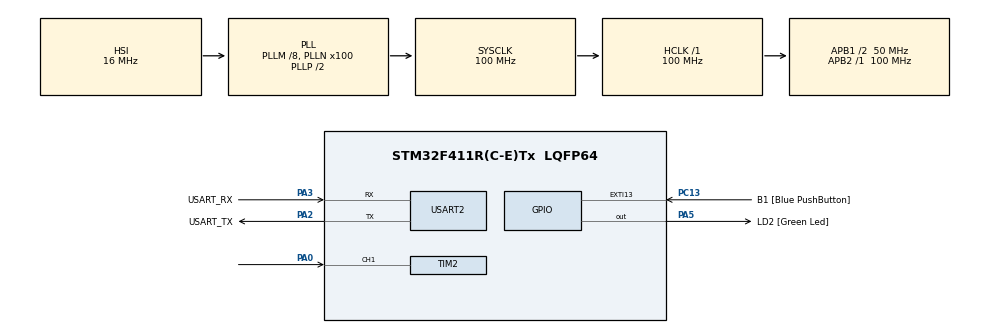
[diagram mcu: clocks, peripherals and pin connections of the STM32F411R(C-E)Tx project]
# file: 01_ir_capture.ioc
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Mcu.Family=STM32F4
Mcu.Name=STM32F411R(C-E)Tx
Mcu.Package=LQFP64
NVIC.PriorityGroup=NVIC_PRIORITYGROUP_0
NVIC.TIM2_IRQn=true\:0\:0\:false\:false\:true\:true\:true\:true
PA0-WKUP.GPIO_PuPd=GPIO_PULLUP
PA0-WKUP.Signal=S_TIM2_CH1_ETR
PA13.GPIO_Label=TMS
PA13.Mode=Serial_Wire
PA13.Signal=SYS_JTMS-SWDIO
PA14.GPIO_Label=TCK
PA14.Mode=Serial_Wire
PA14.Signal=SYS_JTCK-SWCLK
PA2.GPIO_Label=USART_TX
PA2.Mode=Asynchronous
PA2.Signal=USART2_TX
PA3.GPIO_Label=USART_RX
PA3.Mode=Asynchronous
PA3.Signal=USART2_RX
PA5.GPIO_Label=LD2 [Green Led]
PA5.Signal=GPIO_Output
PB3.GPIO_Label=SWO
PB3.Signal=SYS_JTDO-SWO
PC13-ANTI_TAMP.GPIO_Label=B1 [Blue PushButton]
PC13-ANTI_TAMP.GPIO_ModeDefaultEXTI=GPIO_MODE_IT_FALLING
PC13-ANTI_TAMP.Signal=GPXTI13
PC14-OSC32_IN.Mode=LSE-External-Oscillator
PC14-OSC32_IN.Signal=RCC_OSC32_IN
PC15-OSC32_OUT.Mode=LSE-External-Oscillator
PC15-OSC32_OUT.Signal=RCC_OSC32_OUT
PH0\ -\ OSC_IN.Mode=HSE-External-Clock-Source
PH0\ -\ OSC_IN.Signal=RCC_OSC_IN
PH1\ -\ OSC_OUT.Mode=HSE-External-Clock-Source
PH1\ -\ OSC_OUT.Signal=RCC_OSC_OUT
ProjectManager.HeapSize=0x200
ProjectManager.StackSize=0x400
ProjectManager.TargetToolchain=STM32CubeIDE
RCC.48MHZClocksFreq_Value=50000000
RCC.AHBFreq_Value=100000000
RCC.APB1CLKDivider=RCC_HCLK_DIV2
RCC.APB1Freq_Value=50000000
RCC.APB1TimFreq_Value=100000000
RCC.APB2Freq_Value=100000000
RCC.APB2TimFreq_Value=100000000
RCC.CortexFreq_Value=100000000
RCC.FLatency-AdvancedSettings=FLASH_LATENCY_3
RCC.HCLKFreq_Value=100000000
RCC.HSE_VALUE=8000000
RCC.HSI_VALUE=16000000
RCC.PLLM=8
RCC.PLLN=100
RCC.SYSCLKFreq_VALUE=100000000
RCC.SYSCLKSource=RCC_SYSCLKSOURCE_PLLCLK
RCC.VCOOutputFreq_Value=200000000
SH.S_TIM2_CH1_ETR.0=TIM2_CH1,Input_Capture1_from_TI1
TIM2.Channel-Input_Capture1_from_TI1=TIM_CHANNEL_1
TIM2.ICPolarity_CH1=TIM_INPUTCHANNELPOLARITY_BOTHEDGE
TIM2.Prescaler=99
USART2.VirtualMode=VM_ASYNC
VP_TIM2_VS_ClockSourceINT.Mode=Internal
board=NUCLEO-F411RE

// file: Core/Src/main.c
/* USER CODE BEGIN Header */
/**
  ******************************************************************************
  * @file           : main.c
  * @brief          : Main program body
  ******************************************************************************
  * @attention
  *
  * Copyright (c) 2026 STMicroelectronics.
  * All rights reserved.
  *
  * This software is licensed under terms that can be found in the LICENSE file
  * in the root directory of this software component.
  * If no LICENSE file comes with this software, it is provided AS-IS.
  *
  ******************************************************************************
  */
/* USER CODE END Header */
#include "main.h"

/* USER CODE BEGIN Includes */
#include <stdio.h>
#include <string.h>
/* USER CODE END Includes */

/* USER CODE BEGIN PD */
#define IR_MAX_EDGES   1024     // air-con codes can be several hundred durations
#define IR_END_GAP_US  80000u   // silence longer than 80 ms = end of signal
/* USER CODE END PD */

TIM_HandleTypeDef htim2;

UART_HandleTypeDef huart2;

/* USER CODE BEGIN PV */
volatile uint32_t ir_buf[IR_MAX_EDGES];  // durations in µs: [0]=mark, [1]=space, [2]=mark...
volatile uint16_t ir_count    = 0;
volatile uint32_t ir_last_edge = 0;
volatile uint8_t  ir_started  = 0;
volatile uint8_t  ir_overflow = 0;
char msg[64];
/* USER CODE END PV */

void SystemClock_Config(void);
static void MX_GPIO_Init(void);
static void MX_USART2_UART_Init(void);
static void MX_TIM2_Init(void);

/* USER CODE BEGIN 0 */
static void uart_print(const char *s)
{
  HAL_UART_Transmit(&huart2, (uint8_t *)s, strlen(s), HAL_MAX_DELAY);
}

// Runs on every edge from the IR receiver
void HAL_TIM_IC_CaptureCallback(TIM_HandleTypeDef *htim)
{
  if (htim->Instance == TIM2 && htim->Channel == HAL_TIM_ACTIVE_CHANNEL_1)
  {
    uint32_t now = HAL_TIM_ReadCapturedValue(htim, TIM_CHANNEL_1);

    if (!ir_started) {
      ir_started = 1;                           // first falling edge = start of first mark
    } else if (ir_count < IR_MAX_EDGES) {
      ir_buf[ir_count++] = now - ir_last_edge;  // unsigned math handles timer wrap-around
    } else {
      ir_overflow = 1;
    }
    ir_last_edge = now;
  }
}
/* USER CODE END 0 */

int main(void)
{

  /* MCU Configuration--------------------------------------------------------*/

  /* Reset of all peripherals, Initializes the Flash interface and the Systick. */
  HAL_Init();

  /* Configure the system clock */
  SystemClock_Config();

  /* Initialize all configured peripherals */
  MX_GPIO_Init();
  MX_USART2_UART_Init();
  MX_TIM2_Init();
  /* USER CODE BEGIN 2 */
  uart_print("\r\n=== IR capture test ===\r\n");
    uart_print("Point a remote at the KY-022 and TAP a button (don't hold it).\r\n");
    HAL_TIM_IC_Start_IT(&htim2, TIM_CHANNEL_1);
  /* USER CODE END 2 */

  /* Infinite loop */
  while (1)
  {

    /* USER CODE BEGIN 3 */
	  if (ir_started)
	      {
	        // Read both values with interrupts off so they belong together
	        __disable_irq();
	        uint32_t last = ir_last_edge;
	        uint32_t now  = __HAL_TIM_GET_COUNTER(&htim2);
	        __enable_irq();

	        if (now - last > IR_END_GAP_US)            // 80 ms of silence: signal finished
	        {
	          HAL_TIM_IC_Stop_IT(&htim2, TIM_CHANNEL_1);
	          HAL_GPIO_TogglePin(LD2_GPIO_Port, LD2_Pin);

	          uint32_t total = 0;
	          for (uint16_t i = 0; i < ir_count; i++) total += ir_buf[i];

	          sprintf(msg, "\r\nCaptured %u durations, %lu us total%s\r\n",
	                  ir_count, total, ir_overflow ? " (BUFFER FULL!)" : "");
	          uart_print(msg);

	          for (uint16_t i = 0; i < ir_count; i++)
	          {
	            sprintf(msg, "%lu%s", ir_buf[i], (i + 1 < ir_count) ? "," : "");
	            uart_print(msg);
	            if (i % 16 == 15) uart_print("\r\n");   // 16 values per line
	          }
	          uart_print("\r\n");

	          ir_count = 0; ir_started = 0; ir_overflow = 0;
	          HAL_TIM_IC_Start_IT(&htim2, TIM_CHANNEL_1);
	        }
	      }
  }
  /* USER CODE END 3 */
}

void SystemClock_Config(void)
{
  RCC_OscInitTypeDef RCC_OscInitStruct = {0};
  RCC_ClkInitTypeDef RCC_ClkInitStruct = {0};

  /** Configure the main internal regulator output voltage
  */
  __HAL_RCC_PWR_CLK_ENABLE();
  __HAL_PWR_VOLTAGESCALING_CONFIG(PWR_REGULATOR_VOLTAGE_SCALE1);

  /** Initializes the RCC Oscillators according to the specified parameters
  * in the RCC_OscInitTypeDef structure.
  */
  RCC_OscInitStruct.OscillatorType = RCC_OSCILLATORTYPE_HSI;
  RCC_OscInitStruct.HSIState = RCC_HSI_ON;
  RCC_OscInitStruct.HSICalibrationValue = RCC_HSICALIBRATION_DEFAULT;
  RCC_OscInitStruct.PLL.PLLState = RCC_PLL_ON;
  RCC_OscInitStruct.PLL.PLLSource = RCC_PLLSOURCE_HSI;
  RCC_OscInitStruct.PLL.PLLM = 8;
  RCC_OscInitStruct.PLL.PLLN = 100;
  RCC_OscInitStruct.PLL.PLLP = RCC_PLLP_DIV2;
  RCC_OscInitStruct.PLL.PLLQ = 4;
  if (HAL_RCC_OscConfig(&RCC_OscInitStruct) != HAL_OK)
  {
    Error_Handler();
  }

  /** Initializes the CPU, AHB and APB buses clocks
  */
  RCC_ClkInitStruct.ClockType = RCC_CLOCKTYPE_HCLK|RCC_CLOCKTYPE_SYSCLK
                              |RCC_CLOCKTYPE_PCLK1|RCC_CLOCKTYPE_PCLK2;
  RCC_ClkInitStruct.SYSCLKSource = RCC_SYSCLKSOURCE_PLLCLK;
  RCC_ClkInitStruct.AHBCLKDivider = RCC_SYSCLK_DIV1;
  RCC_ClkInitStruct.APB1CLKDivider = RCC_HCLK_DIV2;
  RCC_ClkInitStruct.APB2CLKDivider = RCC_HCLK_DIV1;

  if (HAL_RCC_ClockConfig(&RCC_ClkInitStruct, FLASH_LATENCY_3) != HAL_OK)
  {
    Error_Handler();
  }
}

static void MX_TIM2_Init(void)
{

  TIM_ClockConfigTypeDef sClockSourceConfig = {0};
  TIM_MasterConfigTypeDef sMasterConfig = {0};
  TIM_IC_InitTypeDef sConfigIC = {0};

  htim2.Instance = TIM2;
  htim2.Init.Prescaler = 99;
  htim2.Init.CounterMode = TIM_COUNTERMODE_UP;
  htim2.Init.Period = 4294967295;
  htim2.Init.ClockDivision = TIM_CLOCKDIVISION_DIV1;
  htim2.Init.AutoReloadPreload = TIM_AUTORELOAD_PRELOAD_DISABLE;
  if (HAL_TIM_Base_Init(&htim2) != HAL_OK)
  {
    Error_Handler();
  }
  sClockSourceConfig.ClockSource = TIM_CLOCKSOURCE_INTERNAL;
  if (HAL_TIM_ConfigClockSource(&htim2, &sClockSourceConfig) != HAL_OK)
  {
    Error_Handler();
  }
  if (HAL_TIM_IC_Init(&htim2) != HAL_OK)
  {
    Error_Handler();
  }
  sMasterConfig.MasterOutputTrigger = TIM_TRGO_RESET;
  sMasterConfig.MasterSlaveMode = TIM_MASTERSLAVEMODE_DISABLE;
  if (HAL_TIMEx_MasterConfigSynchronization(&htim2, &sMasterConfig) != HAL_OK)
  {
    Error_Handler();
  }
  sConfigIC.ICPolarity = TIM_INPUTCHANNELPOLARITY_BOTHEDGE;
  sConfigIC.ICSelection = TIM_ICSELECTION_DIRECTTI;
  sConfigIC.ICPrescaler = TIM_ICPSC_DIV1;
  sConfigIC.ICFilter = 0;
  if (HAL_TIM_IC_ConfigChannel(&htim2, &sConfigIC, TIM_CHANNEL_1) != HAL_OK)
  {
    Error_Handler();
  }

}

static void MX_USART2_UART_Init(void)
{

  huart2.Instance = USART2;
  huart2.Init.BaudRate = 115200;
  huart2.Init.WordLength = UART_WORDLENGTH_8B;
  huart2.Init.StopBits = UART_STOPBITS_1;
  huart2.Init.Parity = UART_PARITY_NONE;
  huart2.Init.Mode = UART_MODE_TX_RX;
  huart2.Init.HwFlowCtl = UART_HWCONTROL_NONE;
  huart2.Init.OverSampling = UART_OVERSAMPLING_16;
  if (HAL_UART_Init(&huart2) != HAL_OK)
  {
    Error_Handler();
  }

}

static void MX_GPIO_Init(void)
{
  GPIO_InitTypeDef GPIO_InitStruct = {0};

  /* GPIO Ports Clock Enable */
  __HAL_RCC_GPIOC_CLK_ENABLE();
  __HAL_RCC_GPIOH_CLK_ENABLE();
  __HAL_RCC_GPIOA_CLK_ENABLE();
  __HAL_RCC_GPIOB_CLK_ENABLE();

  /*Configure GPIO pin Output Level */
  HAL_GPIO_WritePin(LD2_GPIO_Port, LD2_Pin, GPIO_PIN_RESET);

  /*Configure GPIO pin : B1_Pin */
  GPIO_InitStruct.Pin = B1_Pin;
  GPIO_InitStruct.Mode = GPIO_MODE_IT_FALLING;
  GPIO_InitStruct.Pull = GPIO_NOPULL;
  HAL_GPIO_Init(B1_GPIO_Port, &GPIO_InitStruct);

  /*Configure GPIO pin : LD2_Pin */
  GPIO_InitStruct.Pin = LD2_Pin;
  GPIO_InitStruct.Mode = GPIO_MODE_OUTPUT_PP;
  GPIO_InitStruct.Pull = GPIO_NOPULL;
  GPIO_InitStruct.Speed = GPIO_SPEED_FREQ_LOW;
  HAL_GPIO_Init(LD2_GPIO_Port, &GPIO_InitStruct);

}

void Error_Handler(void)
{
  __disable_irq();
  while (1)
  {
  }
}
